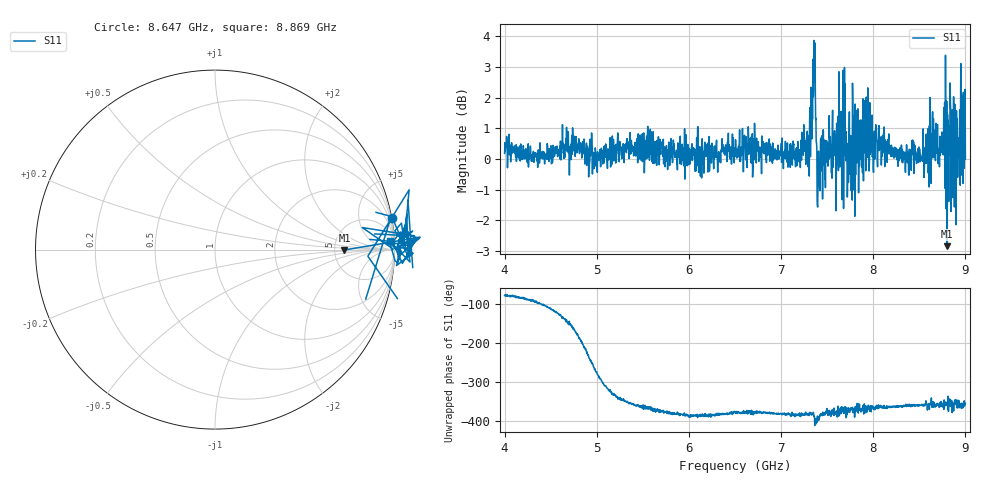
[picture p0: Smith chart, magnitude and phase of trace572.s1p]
! Created with skrf 1.8.0 (http://scikit-rf.org).
# Hz S RI R 50.0
!freq ReS11 ImS11
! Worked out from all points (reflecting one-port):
!   1601 points, 4 GHz to 9 GHz, reference 50 ohm
!   lowest |S11| = -2.8 dB at 8.803 GHz (marker M1), VSWR 6.17, Z = 308 - j3.18 ohm
!   phase of S11 starts at -78 deg and turns -277 deg over the sweep
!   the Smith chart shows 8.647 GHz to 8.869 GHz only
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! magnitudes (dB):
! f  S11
! 4 GHz  0.2
! 4.625 GHz  0.6
! 4.753 GHz  0.7
! 4.978 GHz  0.2
! 5.25 GHz  0.6
! 5.875 GHz  -0.4
! 6.5 GHz  0.1
! 7.125 GHz  0.4
! 7.294 GHz  -0.3
! 7.35 GHz  2.0
! 7.366 GHz  2.7
! 7.4 GHz  -1.0
! 7.412 GHz  0.0
! 7.512 GHz  0.3
! 7.616 GHz  -0.2
! 7.669 GHz  1.7
! 7.722 GHz  -0.8
! 7.75 GHz  0.3
! 7.928 GHz  0.5
! 8.375 GHz  0.0
! 8.575 GHz  0.8
! 8.634 GHz  0.8
! 8.725 GHz  0.6
! 8.759 GHz  0.1
! 8.803 GHz  -2.8
! 8.875 GHz  0.8
! 8.972 GHz  0.5
! 9 GHz  0.0
